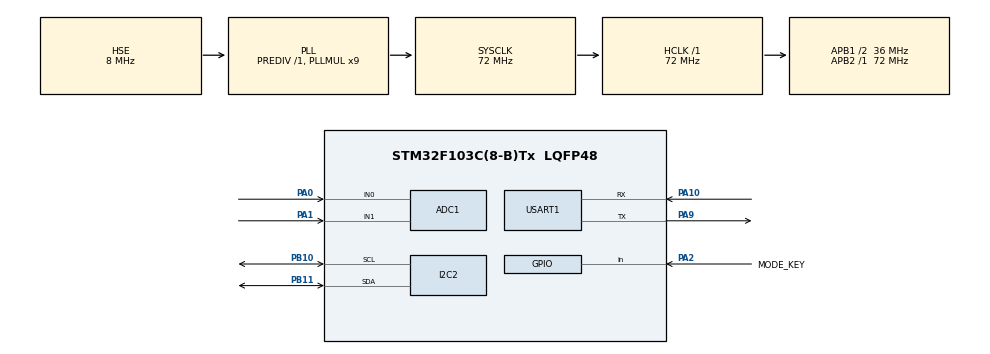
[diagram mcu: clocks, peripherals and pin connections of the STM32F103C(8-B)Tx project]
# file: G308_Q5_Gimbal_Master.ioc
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ADC1.Channel-0\#ChannelRegularConversion=ADC_CHANNEL_0
ADC1.Channel-1\#ChannelRegularConversion=ADC_CHANNEL_1
ADC1.ContinuousConvMode=ENABLE
ADC1.NbrOfConversion=2
ADC1.NbrOfConversionFlag=1
ADC1.Rank-0\#ChannelRegularConversion=1
ADC1.Rank-1\#ChannelRegularConversion=2
ADC1.SamplingTime-0\#ChannelRegularConversion=ADC_SAMPLETIME_55CYCLES_5
ADC1.SamplingTime-1\#ChannelRegularConversion=ADC_SAMPLETIME_55CYCLES_5
ADC1.master=1
Dma.ADC1.0.Direction=DMA_PERIPH_TO_MEMORY
Dma.ADC1.0.Instance=DMA1_Channel1
Dma.ADC1.0.MemDataAlignment=DMA_MDATAALIGN_HALFWORD
Dma.ADC1.0.MemInc=DMA_MINC_ENABLE
Dma.ADC1.0.Mode=DMA_CIRCULAR
Dma.ADC1.0.PeriphDataAlignment=DMA_PDATAALIGN_HALFWORD
Dma.ADC1.0.PeriphInc=DMA_PINC_DISABLE
Dma.ADC1.0.Priority=DMA_PRIORITY_LOW
Dma.Request0=ADC1
FREERTOS.Mutexes01=ControlMutex,Dynamic,NULL,Available
FREERTOS.Tasks01=InputTask,0,384,StartInputTask,Default,NULL,Dynamic,NULL,NULL;CommTask,1,256,StartCommTask,Default,NULL,Dynamic,NULL,NULL
Mcu.Family=STM32F1
Mcu.Name=STM32F103C(8-B)Tx
Mcu.Package=LQFP48
NVIC.DMA1_Channel1_IRQn=true\:5\:0\:false\:false\:true\:true\:false\:true\:true
NVIC.PriorityGroup=NVIC_PRIORITYGROUP_4
NVIC.TIM4_IRQn=true\:15\:0\:false\:false\:true\:false\:false\:true\:true
NVIC.TimeBase=TIM4_IRQn
NVIC.TimeBaseIP=TIM4
NVIC.USART1_IRQn=true\:5\:0\:false\:false\:true\:true\:true\:true\:true
PA0-WKUP.Signal=ADCx_IN0
PA1.Signal=ADCx_IN1
PA10.Mode=Asynchronous
PA10.Signal=USART1_RX
PA13.Mode=Serial_Wire
PA13.Signal=SYS_JTMS-SWDIO
PA14.Mode=Serial_Wire
PA14.Signal=SYS_JTCK-SWCLK
PA2.GPIO_Label=MODE_KEY
PA2.GPIO_PuPd=GPIO_PULLUP
PA2.Signal=GPIO_Input
PA9.Mode=Asynchronous
PA9.Signal=USART1_TX
PB10.Mode=I2C
PB10.Signal=I2C2_SCL
PB11.Mode=I2C
PB11.Signal=I2C2_SDA
PD0-OSC_IN.Mode=HSE-External-Oscillator
PD0-OSC_IN.Signal=RCC_OSC_IN
PD1-OSC_OUT.Mode=HSE-External-Oscillator
PD1-OSC_OUT.Signal=RCC_OSC_OUT
ProjectManager.HeapSize=0x200
ProjectManager.StackSize=0x400
ProjectManager.TargetToolchain=CMake
RCC.ADCPresc=RCC_ADCPCLK2_DIV6
RCC.AHBFreq_Value=72000000
RCC.APB1CLKDivider=RCC_HCLK_DIV2
RCC.APB1Freq_Value=36000000
RCC.APB1TimFreq_Value=72000000
RCC.APB2Freq_Value=72000000
RCC.APB2TimFreq_Value=72000000
RCC.HCLKFreq_Value=72000000
RCC.PLLMUL=RCC_PLL_MUL9
RCC.PLLSourceVirtual=RCC_PLLSOURCE_HSE
RCC.SYSCLKFreq_VALUE=72000000
RCC.SYSCLKSource=RCC_SYSCLKSOURCE_PLLCLK
RCC.USBFreq_Value=72000000
SH.ADCx_IN0.0=ADC1_IN0,IN0
SH.ADCx_IN1.0=ADC1_IN1,IN1
USART1.VirtualMode=VM_ASYNC
VP_FREERTOS_VS_CMSIS_V1.Mode=CMSIS_V1
VP_SYS_VS_tim4.Mode=TIM4
board=custom

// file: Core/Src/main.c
/* USER CODE BEGIN Header */
/**
  ******************************************************************************
  * @file           : main.c
  * @brief          : Main program body
  ******************************************************************************
  * @attention
  *
  * Copyright (c) 2026 STMicroelectronics.
  * All rights reserved.
  *
  * This software is licensed under terms that can be found in the LICENSE file
  * in the root directory of this software component.
  * If no LICENSE file comes with this software, it is provided AS-IS.
  *
  ******************************************************************************
  */
/* USER CODE END Header */
#include "main.h"
#include "cmsis_os.h"
#include "adc.h"
#include "dma.h"
#include "i2c.h"
#include "usart.h"
#include "gpio.h"

void SystemClock_Config(void);
void MX_FREERTOS_Init(void);

int main(void)
{

  /* MCU Configuration--------------------------------------------------------*/

  /* Reset of all peripherals, Initializes the Flash interface and the Systick. */
  HAL_Init();

  /* Configure the system clock */
  SystemClock_Config();

  /* Initialize all configured peripherals */
  MX_GPIO_Init();
  MX_DMA_Init();
  MX_ADC1_Init();
  MX_I2C2_Init();
  MX_USART1_UART_Init();

  /* Call init function for freertos objects (in cmsis_os2.c) */
  MX_FREERTOS_Init();

  /* Start scheduler */
  osKernelStart();

  /* We should never get here as control is now taken by the scheduler */

  /* Infinite loop */
  while (1)
  {

  }
}

void SystemClock_Config(void)
{
  RCC_OscInitTypeDef RCC_OscInitStruct = {0};
  RCC_ClkInitTypeDef RCC_ClkInitStruct = {0};
  RCC_PeriphCLKInitTypeDef PeriphClkInit = {0};

  /** Initializes the RCC Oscillators according to the specified parameters
  * in the RCC_OscInitTypeDef structure.
  */
  RCC_OscInitStruct.OscillatorType = RCC_OSCILLATORTYPE_HSE;
  RCC_OscInitStruct.HSEState = RCC_HSE_ON;
  RCC_OscInitStruct.HSEPredivValue = RCC_HSE_PREDIV_DIV1;
  RCC_OscInitStruct.HSIState = RCC_HSI_ON;
  RCC_OscInitStruct.PLL.PLLState = RCC_PLL_ON;
  RCC_OscInitStruct.PLL.PLLSource = RCC_PLLSOURCE_HSE;
  RCC_OscInitStruct.PLL.PLLMUL = RCC_PLL_MUL9;
  if (HAL_RCC_OscConfig(&RCC_OscInitStruct) != HAL_OK)
  {
    Error_Handler();
  }

  /** Initializes the CPU, AHB and APB buses clocks
  */
  RCC_ClkInitStruct.ClockType = RCC_CLOCKTYPE_HCLK|RCC_CLOCKTYPE_SYSCLK
                              |RCC_CLOCKTYPE_PCLK1|RCC_CLOCKTYPE_PCLK2;
  RCC_ClkInitStruct.SYSCLKSource = RCC_SYSCLKSOURCE_PLLCLK;
  RCC_ClkInitStruct.AHBCLKDivider = RCC_SYSCLK_DIV1;
  RCC_ClkInitStruct.APB1CLKDivider = RCC_HCLK_DIV2;
  RCC_ClkInitStruct.APB2CLKDivider = RCC_HCLK_DIV1;

  if (HAL_RCC_ClockConfig(&RCC_ClkInitStruct, FLASH_LATENCY_2) != HAL_OK)
  {
    Error_Handler();
  }
  PeriphClkInit.PeriphClockSelection = RCC_PERIPHCLK_ADC;
  PeriphClkInit.AdcClockSelection = RCC_ADCPCLK2_DIV6;
  if (HAL_RCCEx_PeriphCLKConfig(&PeriphClkInit) != HAL_OK)
  {
    Error_Handler();
  }
}

void HAL_TIM_PeriodElapsedCallback(TIM_HandleTypeDef *htim)
{
  if (htim->Instance == TIM4)
  {
    HAL_IncTick();
  }
}

void Error_Handler(void)
{
  __disable_irq();
  while (1)
  {
  }
}

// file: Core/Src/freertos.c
/* USER CODE BEGIN Header */
/**
  ******************************************************************************
  * File Name          : freertos.c
  * Description        : Code for freertos applications
  ******************************************************************************
  * @attention
  *
  * Copyright (c) 2026 STMicroelectronics.
  * All rights reserved.
  *
  * This software is licensed under terms that can be found in the LICENSE file
  * in the root directory of this software component.
  * If no LICENSE file comes with this software, it is provided AS-IS.
  *
  ******************************************************************************
  */
/* USER CODE END Header */

#include "FreeRTOS.h"
#include "task.h"
#include "main.h"
#include "cmsis_os.h"

/* USER CODE BEGIN Includes */
#include "q5_control.h"
/* USER CODE END Includes */

/* USER CODE BEGIN Variables */
static Q5_ControlState_t s_controlState;
/* USER CODE END Variables */
osThreadId InputTaskHandle;
osThreadId CommTaskHandle;
osMutexId ControlMutexHandle;

void StartInputTask(void const * argument);
void StartCommTask(void const * argument);

void MX_FREERTOS_Init(void); /* (MISRA C 2004 rule 8.1) */

/* GetIdleTaskMemory prototype (linked to static allocation support) */
void vApplicationGetIdleTaskMemory( StaticTask_t **ppxIdleTaskTCBBuffer, StackType_t **ppxIdleTaskStackBuffer, uint32_t *pulIdleTaskStackSize );

/* USER CODE BEGIN GET_IDLE_TASK_MEMORY */
static StaticTask_t xIdleTaskTCBBuffer;
static StackType_t xIdleStack[configMINIMAL_STACK_SIZE];

void vApplicationGetIdleTaskMemory( StaticTask_t **ppxIdleTaskTCBBuffer, StackType_t **ppxIdleTaskStackBuffer, uint32_t *pulIdleTaskStackSize )
{
  *ppxIdleTaskTCBBuffer = &xIdleTaskTCBBuffer;
  *ppxIdleTaskStackBuffer = &xIdleStack[0];
  *pulIdleTaskStackSize = configMINIMAL_STACK_SIZE;
  /* place for user code */
}
/* USER CODE END GET_IDLE_TASK_MEMORY */

void MX_FREERTOS_Init(void) {
  /* Create the mutex(es) */
  /* definition and creation of ControlMutex */
  osMutexDef(ControlMutex);
  ControlMutexHandle = osMutexCreate(osMutex(ControlMutex));

  /* Create the thread(s) */
  /* definition and creation of InputTask */
  osThreadDef(InputTask, StartInputTask, osPriorityNormal, 0, 384);
  InputTaskHandle = osThreadCreate(osThread(InputTask), NULL);

  /* definition and creation of CommTask */
  osThreadDef(CommTask, StartCommTask, osPriorityAboveNormal, 0, 256);
  CommTaskHandle = osThreadCreate(osThread(CommTask), NULL);

}

void StartInputTask(void const * argument)
{
  /* USER CODE BEGIN StartInputTask */
  Q5_ControlState_t localState;

  (void)argument;

  Q5_ControlInit(&localState);
  if (osMutexWait(ControlMutexHandle, osWaitForever) == osOK)
  {
    s_controlState = localState;
    osMutexRelease(ControlMutexHandle);
  }

  /* Infinite loop */
  for(;;)
  {
    Q5_ControlUpdate(&localState);
    if (osMutexWait(ControlMutexHandle, osWaitForever) == osOK)
    {
      s_controlState = localState;
      osMutexRelease(ControlMutexHandle);
    }
    osDelay(20);
  }
  /* USER CODE END StartInputTask */
}

void StartCommTask(void const * argument)
{
  /* USER CODE BEGIN StartCommTask */
  Q5_ControlState_t localState = {0};

  (void)argument;

  osDelay(100);
  /* Infinite loop */
  for(;;)
  {
    if (osMutexWait(ControlMutexHandle, osWaitForever) == osOK)
    {
      localState = s_controlState;
      osMutexRelease(ControlMutexHandle);
    }
    Q5_ControlSend(&localState);
    osDelay(20);
  }
  /* USER CODE END StartCommTask */
}
